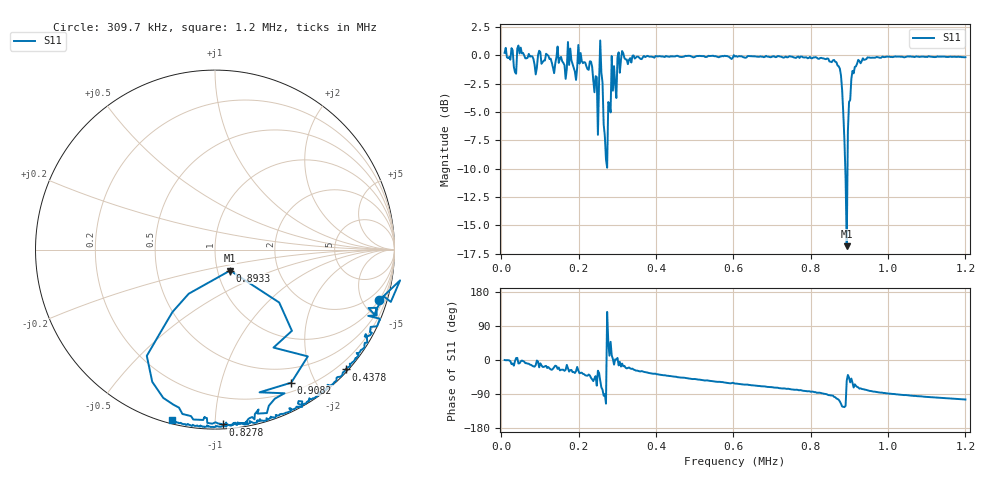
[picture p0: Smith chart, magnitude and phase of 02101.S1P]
!Agilent Technologies,E5071C,MY46100305,A.07.02
!Date: Fri Jan 01 01:34:06 1988
!Data & Calibration Information:
!Freq	S11:SOLT1(ON)
# Hz S dB R 50
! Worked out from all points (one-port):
!   401 points, 9 kHz to 1.2 MHz, reference 50 ohm
!   lowest |S11| = -16.8 dB at 893.3 kHz (marker M1), VSWR 1.34, Z = 57.4 - j13.7 ohm
!   |S11| at or under -10 dB: 889.6 kHz to 895.3 kHz (5.752 kHz wide, 0.644 % of centre)
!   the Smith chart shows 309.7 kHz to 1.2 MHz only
!   S11 on the Smith chart (normalised r, x): 309.7 kHz: 0.96, -6.46; 437.8 kHz: 0.04, -2.58; 827.8 kHz: 0.03, -1.04; 893.3 kHz: 1.15, -0.27; 908.2 kHz: 0.31, -1.68; 1.2 MHz: 0.01, -0.78
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9000  0.23 -0.0
157875  -0.52 -25.6
202538  -0.72 -35.2
232313  -0.56 -47.1
244223  -1.84 -42.6
250178  -7.01 -28.3
262088  -2.39 -78.3
268043  -7.11 -90.2
276975  -4.12 48.8
279953  -4.28 11.4
285908  -0.05 12.0
306750  -1.53 -4.9
309728  -0.38 -17.2
354390  -0.11 -28.9
437760  -0.09 -42.4
455625  -0.04 -45.2
604500  -0.10 -62.3
753375  -0.13 -77.8
827813  -0.22 -87.5
866520  -0.60 -101.2
881408  -3.05 -122.7
887363  -7.52 -124.3
893318  -16.84 -54.2
902250  -3.93 -59.2
908205  -1.37 -60.2
940958  -0.37 -78.4
1051125  -0.08 -93.3
1200000  -0.16 -104.2
